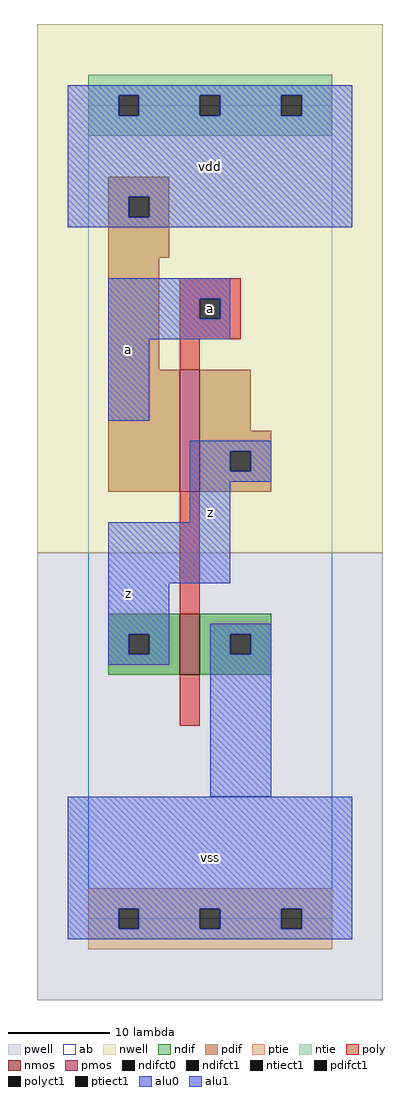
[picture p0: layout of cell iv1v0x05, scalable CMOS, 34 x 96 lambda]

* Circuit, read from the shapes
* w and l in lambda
.subckt iv1v0x05 a vdd vss z
M1 vss a z vss nfet w=6 l=2
M2 z a vdd vdd pfet w=12 l=2
.ends

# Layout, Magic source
magic
tech scmos
<< ab >>
rect 0 0 24 80
<< nwell >>
rect -5 36 29 88
<< pwell >>
rect -5 -8 29 36
<< poly >>
rect 9 61 15 63
rect 9 59 11 61
rect 13 59 15 61
rect 9 57 15 59
rect 9 54 11 57
rect 9 30 11 42
rect 9 19 11 24
<< ndif >>
rect 2 28 9 30
rect 2 26 4 28
rect 6 26 9 28
rect 2 24 9 26
rect 11 28 18 30
rect 11 26 14 28
rect 16 26 18 28
rect 11 24 18 26
<< pdif >>
rect 2 71 8 73
rect 2 69 4 71
rect 6 69 8 71
rect 2 65 8 69
rect 2 54 7 65
rect 2 42 9 54
rect 11 48 16 54
rect 11 46 18 48
rect 11 44 14 46
rect 16 44 18 46
rect 11 42 18 44
<< alu1 >>
rect -2 81 26 82
rect -2 79 3 81
rect 5 79 11 81
rect 13 79 19 81
rect 21 79 26 81
rect -2 71 26 79
rect -2 69 4 71
rect 6 69 26 71
rect -2 68 26 69
rect 2 61 14 63
rect 2 59 11 61
rect 13 59 14 61
rect 2 57 14 59
rect 2 49 6 57
rect 10 46 18 47
rect 10 44 14 46
rect 16 44 18 46
rect 10 43 18 44
rect 10 39 14 43
rect 2 33 14 39
rect 2 28 8 33
rect 2 26 4 28
rect 6 26 8 28
rect 2 25 8 26
rect -2 1 26 12
rect -2 -1 3 1
rect 5 -1 11 1
rect 13 -1 19 1
rect 21 -1 26 1
rect -2 -2 26 -1
<< ptie >>
rect 0 1 24 3
rect 0 -1 3 1
rect 5 -1 11 1
rect 13 -1 19 1
rect 21 -1 24 1
rect 0 -3 24 -1
<< ntie >>
rect 0 81 24 83
rect 0 79 3 81
rect 5 79 11 81
rect 13 79 19 81
rect 21 79 24 81
rect 0 77 24 79
<< nmos >>
rect 9 24 11 30
<< pmos >>
rect 9 42 11 54
<< polyct1 >>
rect 11 59 13 61
<< ndifct0 >>
rect 14 26 16 28
<< ndifct1 >>
rect 4 26 6 28
<< ntiect1 >>
rect 3 79 5 81
rect 11 79 13 81
rect 19 79 21 81
<< ptiect1 >>
rect 3 -1 5 1
rect 11 -1 13 1
rect 19 -1 21 1
<< pdifct1 >>
rect 4 69 6 71
rect 14 44 16 46
<< alu0 >>
rect 12 28 18 29
rect 12 26 14 28
rect 16 26 18 28
rect 12 12 18 26
<< labels >>
rlabel alu1 4 32 4 32 6 z
rlabel alu1 4 56 4 56 6 a
rlabel alu1 12 6 12 6 6 vss
rlabel alu1 12 40 12 40 6 z
rlabel alu1 12 74 12 74 6 vdd
rlabel polyct1 12 60 12 60 6 a
<< end >>
